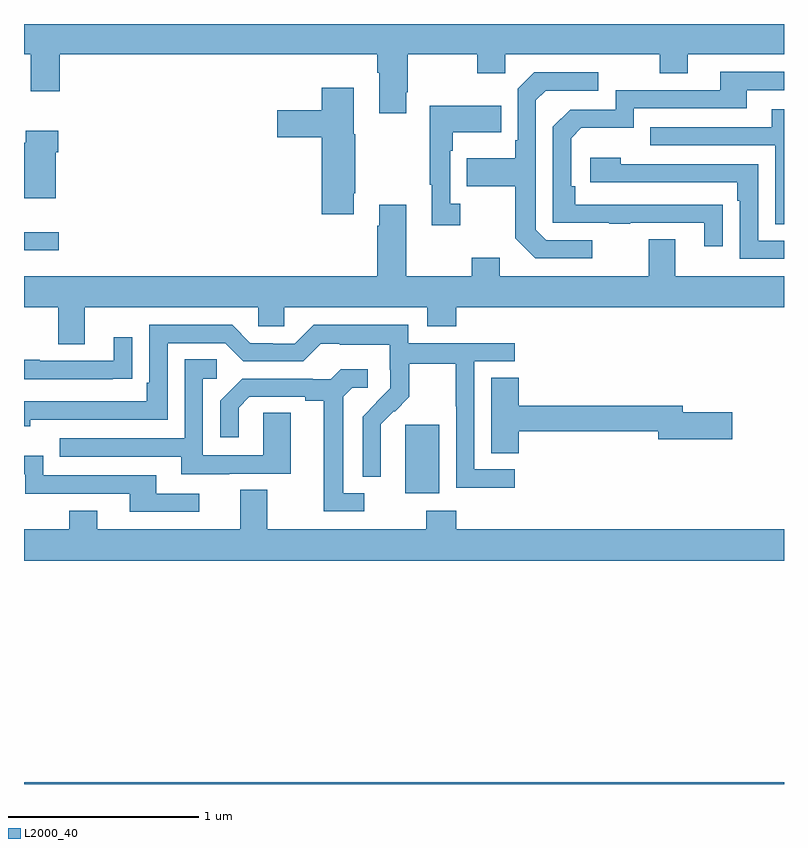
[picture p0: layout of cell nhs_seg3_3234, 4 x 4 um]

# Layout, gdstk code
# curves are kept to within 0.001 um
import gdstk
lib = gdstk.Library(unit=1e-6, precision=1e-09)
def R(c, l, rs):  # rectangles x0, y0, x1, y1
    for r in rs: c.add(gdstk.rectangle(r[:2], r[2:], *l))
def P(c, l, *ps):  # polygons
    for p in ps: c.add(gdstk.Polygon(p, *l))
L2000_40 = (2000, 40)

nhs_seg3_3234 = lib.new_cell('nhs_seg3_3234')
R(nhs_seg3_3234, L2000_40, [(279,706.4,283,706.408), (281.006,707.93,281.185,708.291), (279,709.208,279.184,709.305)])
P(nhs_seg3_3234, L2000_40, [(281.011,710.041),(281.019,710.041),(281.019,710.24),(281.386,710.24),(281.386,710.141),(281.532,710.141),(281.532,710.24),(282.346,710.24),(282.346,710.141),(282.493,710.141),(282.493,710.24),(283,710.24),(283,710.4),(279,710.4),(279,710.24),(279.035,710.24),(279.035,710.046),(279.188,710.046),(279.188,710.24),(280.859,710.24),(280.859,710.144),(280.871,710.144),(280.871,709.929),(281.011,709.929)],
  [(282.677,709.448),(281.9,709.449),(281.9,709.546),(281.88,709.546),(281.88,709.8),(281.933,709.853),(282.21,709.853),(282.21,709.956),(282.805,709.956),(282.805,710.052),(283,710.052),(283,710.148),(282.665,710.148),(282.665,710.052),(282.114,710.052),(282.114,709.95),(281.874,709.95),(281.784,709.86),(281.784,709.353),(282.079,709.353),(282.079,709.348),(282.191,709.348),(282.191,709.353),(282.581,709.353),(282.581,709.23),(282.677,709.23)],
  [(281.992,709.263),(281.748,709.263),(281.694,709.317),(281.694,709.998),(281.745,710.049),(282.022,710.049),(282.022,710.145),(281.685,710.145),(281.598,710.058),(281.598,709.789),(281.586,709.789),(281.586,709.693),(281.329,709.693),(281.329,709.546),(281.586,709.546),(281.586,709.273),(281.691,709.167),(281.992,709.167)],
  [(280.735,709.51),(280.743,709.51),(280.743,709.821),(280.735,709.821),(280.735,710.065),(280.568,710.065),(280.568,709.947),(280.332,709.947),(280.332,709.805),(280.568,709.805),(280.568,709.398),(280.735,709.398)],
  [(281.296,709.454),(281.244,709.454),(281.244,709.733),(281.257,709.733),(281.257,709.829),(281.513,709.829),(281.513,709.969),(281.136,709.969),(281.136,709.553),(281.147,709.553),(281.147,709.341),(281.296,709.341)],
  [(283,709.951),(282.935,709.951),(282.935,709.857),(282.295,709.857),(282.295,709.761),(282.954,709.761),(282.954,709.345),(283,709.345)],
  [(279.166,709.724),(279.179,709.724),(279.179,709.837),(279.008,709.837),(279.008,709.776),(279,709.776),(279,709.484),(279.166,709.484)],
  [(283,709.26),(282.864,709.26),(282.864,709.662),(282.14,709.662),(282.14,709.696),(281.979,709.696),(281.979,709.566),(282.755,709.566),(282.755,709.469),(282.768,709.469),(282.768,709.164),(283,709.164)],
  [(279.319,708.908),(280.233,708.908),(280.233,708.81),(280.371,708.81),(280.371,708.908),(281.123,708.908),(281.123,708.809),(281.276,708.809),(281.276,708.908),(283,708.908),(283,709.072),(282.427,709.072),(282.427,709.267),(282.287,709.267),(282.287,709.072),(281.503,709.072),(281.503,709.171),(281.356,709.171),(281.356,709.072),(281.011,709.072),(281.011,709.45),(280.871,709.45),(280.871,709.337),(280.859,709.337),(280.859,709.072),(279,709.072),(279,708.908),(279.179,708.908),(279.179,708.714),(279.319,708.714)],
  [(281.584,708.057),(281.37,708.057),(281.37,708.624),(281.584,708.624),(281.584,708.72),(281.022,708.72),(281.022,708.817),(280.525,708.817),(280.425,708.717),(280.31,708.717),(280.31,708.72),(280.191,708.72),(280.095,708.816),(279.66,708.816),(279.66,708.511),(279.647,708.511),(279.647,708.414),(279,708.414),(279,708.284),(279.032,708.284),(279.032,708.318),(279.756,708.318),(279.756,708.72),(280.059,708.72),(280.155,708.624),(280.47,708.624),(280.563,708.717),(280.663,708.717),(280.663,708.713),(280.926,708.713),(280.926,708.579),(280.928,708.579),(280.928,708.482),(280.782,708.334),(280.782,708.016),(280.878,708.016),(280.877,708.293),(280.947,708.363),(280.95,708.36),(281.027,708.437),(281.027,708.612),(281.272,708.612),(281.272,708.388),(281.274,708.388),(281.274,707.959),(281.584,707.959)],
  [(279.467,708.532),(279.569,708.532),(279.569,708.751),(279.473,708.751),(279.473,708.627),(279.083,708.627),(279.083,708.632),(279,708.632),(279,708.531),(279.467,708.531)],
  [(280.081,708.033),(280.405,708.033),(280.405,708.353),(280.26,708.353),(280.26,708.129),(279.942,708.129),(279.942,708.534),(280.015,708.534),(280.015,708.635),(279.846,708.635),(279.846,708.219),(279.187,708.219),(279.187,708.123),(279.827,708.123),(279.827,708.029),(280.081,708.029)],
  [(280.792,707.931),(280.681,707.931),(280.681,708.439),(280.728,708.486),(280.81,708.486),(280.81,708.583),(280.666,708.583),(280.614,708.531),(280.52,708.531),(280.52,708.534),(280.148,708.534),(280.032,708.418),(280.032,708.225),(280.129,708.225),(280.129,708.381),(280.186,708.438),(280.481,708.438),(280.481,708.416),(280.577,708.416),(280.577,707.835),(280.792,707.835)],
  [(281.603,708.256),(282.338,708.256),(282.338,708.214),(282.727,708.214),(282.727,708.356),(282.466,708.356),(282.466,708.392),(281.603,708.392),(281.603,708.539),(281.459,708.539),(281.459,708.142),(281.603,708.142)],
  [(279.922,707.928),(279.697,707.928),(279.697,708.024),(279.102,708.024),(279.102,708.127),(279,708.127),(279,708.03),(279.006,708.03),(279.006,707.928),(279.557,707.928),(279.557,707.832),(279.922,707.832)],
  [(283,707.74),(281.276,707.74),(281.276,707.839),(281.116,707.839),(281.116,707.74),(280.279,707.74),(280.279,707.948),(280.139,707.948),(280.139,707.74),(279.385,707.74),(279.385,707.839),(279.238,707.839),(279.238,707.74),(279,707.74),(279,707.576),(283,707.576)])

lib.write_gds('nhs_seg3_3234.gds')
